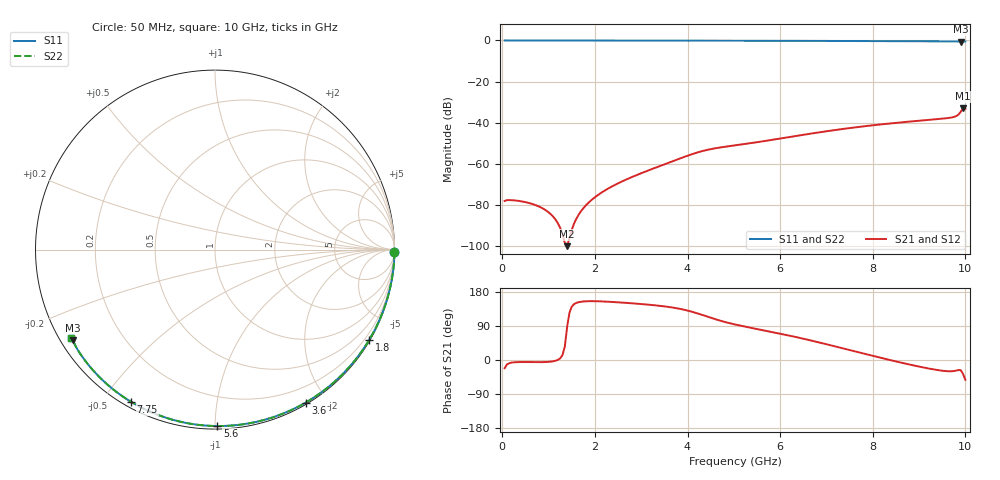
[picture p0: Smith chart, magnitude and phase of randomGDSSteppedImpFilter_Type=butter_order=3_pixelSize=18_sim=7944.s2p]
! freq	dB(S11)	phase(S11)	dB(S12)	phase(S12)
!  dB(S21)	phase(S21)	dB(S22)	phase(S22)
!S-par simulation data
#  GHz  S  DB  R 50
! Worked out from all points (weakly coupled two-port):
!   200 points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, 50 MHz to 10 GHz, reference 50 ohm
!   highest |S21| = -33.09 dB at 9.95 GHz (marker M1); lowest = -100.2 dB at 1.4 GHz (marker M2)
!   lowest |S11| = -0.6 dB at 9.9 GHz (marker M3), VSWR 31.51, Z = 1.72 - j14.6 ohm
!   |S11| at or under -10 dB: nowhere
!   |S22| runs from -0.6 to 0.0 dB; largest |S21 - S12| = 0
!   S11 on the Smith chart (normalised r, x): 50 MHz: open; 1.8 GHz: 0.03, -3.68; 3.6 GHz: 0.02, -1.75; 5.6 GHz: 0.02, -1.01; 7.75 GHz: 0.02, -0.59; 10 GHz: 0.03, -0.28
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0.05  -0.00 -0.9  -78.24 -21.7  -78.24 -21.7  -0.00 -0.9
0.3  -0.00 -5.2  -78.03 -5.7  -78.03 -5.7  -0.00 -5.2
0.7  -0.01 -12.0  -80.07 -5.6  -80.07 -5.6  -0.01 -12.0
1.4  -0.03 -23.8  -100.24 87.3  -100.24 87.3  -0.03 -23.8
1.75  -0.04 -29.6  -81.76 154.5  -81.76 154.5  -0.04 -29.6
1.8  -0.04 -30.4  -80.47 155.0  -80.47 155.0  -0.04 -30.4
2.1  -0.05 -35.4  -74.78 154.9  -74.78 154.9  -0.05 -35.4
2.4  -0.05 -40.3  -70.76 153.0  -70.76 153.0  -0.05 -40.3
2.8  -0.06 -46.7  -66.55 149.6  -66.55 149.6  -0.06 -46.7
3.4  -0.07 -56.2  -61.22 143.0  -61.22 143.0  -0.07 -56.2
3.6  -0.08 -59.4  -59.52 139.9  -59.52 139.9  -0.08 -59.4
4.35  -0.10 -70.9  -53.73 117.6  -53.73 117.6  -0.10 -70.9
5.05  -0.12 -81.2  -51.06 93.1  -51.06 93.1  -0.12 -81.2
5.6  -0.15 -89.2  -49.25 79.5  -49.25 79.5  -0.15 -89.2
6.7  -0.21 -104.6  -45.26 50.5  -45.26 50.5  -0.21 -104.6
7.75  -0.28 -118.9  -41.99 18.6  -41.99 18.6  -0.28 -118.9
8.35  -0.33 -126.9  -40.50 0.5  -40.50 0.5  -0.33 -126.9
9.7  -0.49 -144.9  -37.55 -29.7  -37.55 -29.7  -0.49 -144.9
9.8  -0.51 -146.2  -36.89 -28.0  -36.89 -28.0  -0.51 -146.2
9.9  -0.55 -147.4  -34.75 -26.9  -34.75 -26.9  -0.55 -147.4
9.95  -0.55 -147.8  -33.09 -36.8  -33.09 -36.8  -0.55 -147.8
10  -0.50 -148.4  -33.34 -52.2  -33.34 -52.2  -0.50 -148.4
